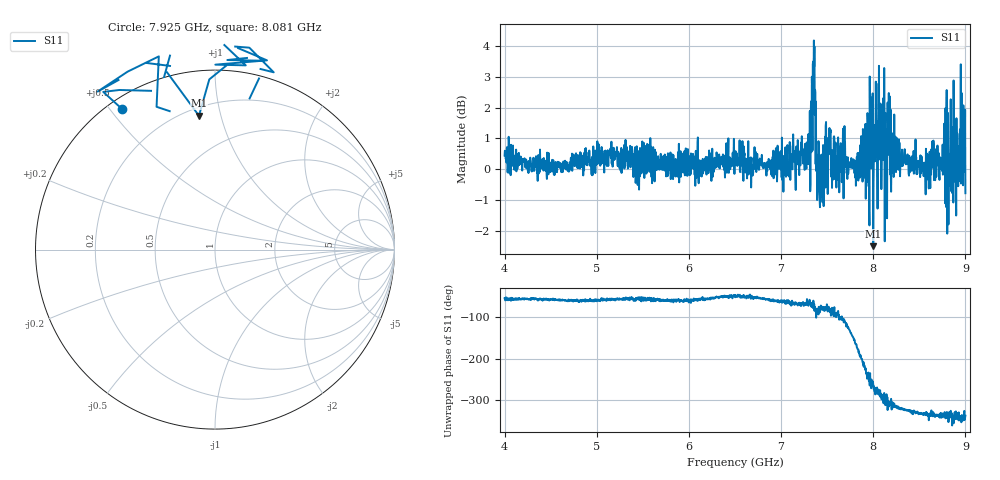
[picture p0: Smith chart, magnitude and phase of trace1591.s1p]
! Created with skrf 1.8.0 (http://scikit-rf.org).
# Hz S RI R 50.0
!freq ReS11 ImS11
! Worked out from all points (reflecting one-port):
!   1601 points, 4 GHz to 9 GHz, reference 50 ohm
!   lowest |S11| = -2.5 dB at 8 GHz (marker M1), VSWR 7.03, Z = 12.5 + j42.8 ohm
!   phase of S11 starts at -56 deg and turns -280 deg over the sweep
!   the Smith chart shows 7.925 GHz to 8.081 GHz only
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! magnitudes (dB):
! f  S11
! 4 GHz  0.4
! 4.625 GHz  0.0
! 5.25 GHz  0.1
! 5.875 GHz  0.2
! 6.5 GHz  0.2
! 6.672 GHz  0.4
! 7.125 GHz  0.7
! 7.294 GHz  0.2
! 7.347 GHz  3.5
! 7.369 GHz  2.6
! 7.409 GHz  0.7
! 7.438 GHz  0.3
! 7.509 GHz  0.4
! 7.609 GHz  0.4
! 7.669 GHz  0.6
! 7.75 GHz  0.1
! 7.934 GHz  -0.4
! 7.962 GHz  3.0
! 8 GHz  -2.5
! 8.097 GHz  0.6
! 8.216 GHz  0.9
! 8.375 GHz  0.3
! 8.584 GHz  0.5
! 8.772 GHz  0.0
! 8.825 GHz  0.5
! 8.919 GHz  -0.2
! 8.972 GHz  0.3
! 9 GHz  -0.8
